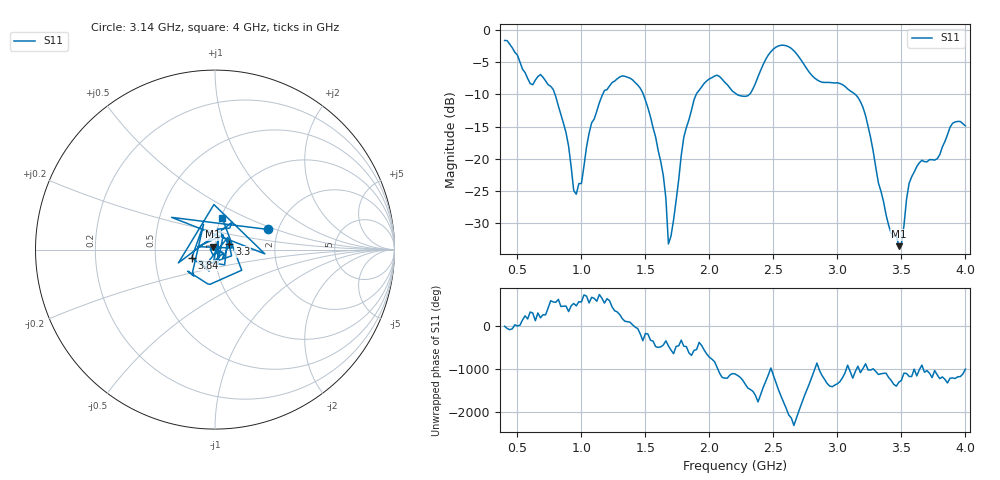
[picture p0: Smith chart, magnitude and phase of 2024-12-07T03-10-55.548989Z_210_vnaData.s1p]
!Created with skrf (http://scikit-rf.org).
# Hz S RI R 50.0
!freq ReS11 ImS11
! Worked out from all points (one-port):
!   181 points, 400 MHz to 4 GHz, reference 50 ohm
!   lowest |S11| = -33.5 dB at 3.48 GHz (marker M1), VSWR 1.04, Z = 48.6 + j1.55 ohm
!   |S11| at or under -10 dB: 793.9 MHz to 1.166 GHz (371.9 MHz wide, 38 % of centre); 1.484 GHz to 1.897 GHz (412.6 MHz wide, 24.4 % of centre); 3.141 GHz to end of sweep (the widest 3 of 4)
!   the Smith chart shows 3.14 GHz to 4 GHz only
!   S11 on the Smith chart (normalised r, x): 3.14 GHz: 1.77, +0.44; 3.3 GHz: 1.17, +0.07; 3.84 GHz: 0.77, -0.07; 4 GHz: 1.02, +0.37
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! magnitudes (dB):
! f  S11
! 400 MHz  -1.6
! 600 MHz  -8.3
! 780 MHz  -9.2
! 860 MHz  -14.5
! 960 MHz  -25.5
! 1.08 GHz  -14.4
! 1.3 GHz  -7.3
! 1.52 GHz  -12.1
! 1.64 GHz  -22.6
! 1.68 GHz  -33.2
! 1.76 GHz  -23.2
! 1.8 GHz  -16.6
! 1.9 GHz  -9.8
! 2.06 GHz  -7.0
! 2.2 GHz  -9.8
! 2.32 GHz  -9.9
! 2.52 GHz  -2.7
! 2.66 GHz  -3.2
! 3.1 GHz  -9.4
! 3.14 GHz  -10.0
! 3.22 GHz  -13.3
! 3.3 GHz  -21.3
! 3.4 GHz  -30.3
! 3.48 GHz  -33.5
! 3.5 GHz  -33.2
! 3.56 GHz  -23.8
! 3.84 GHz  -17.3
! 4 GHz  -14.9
